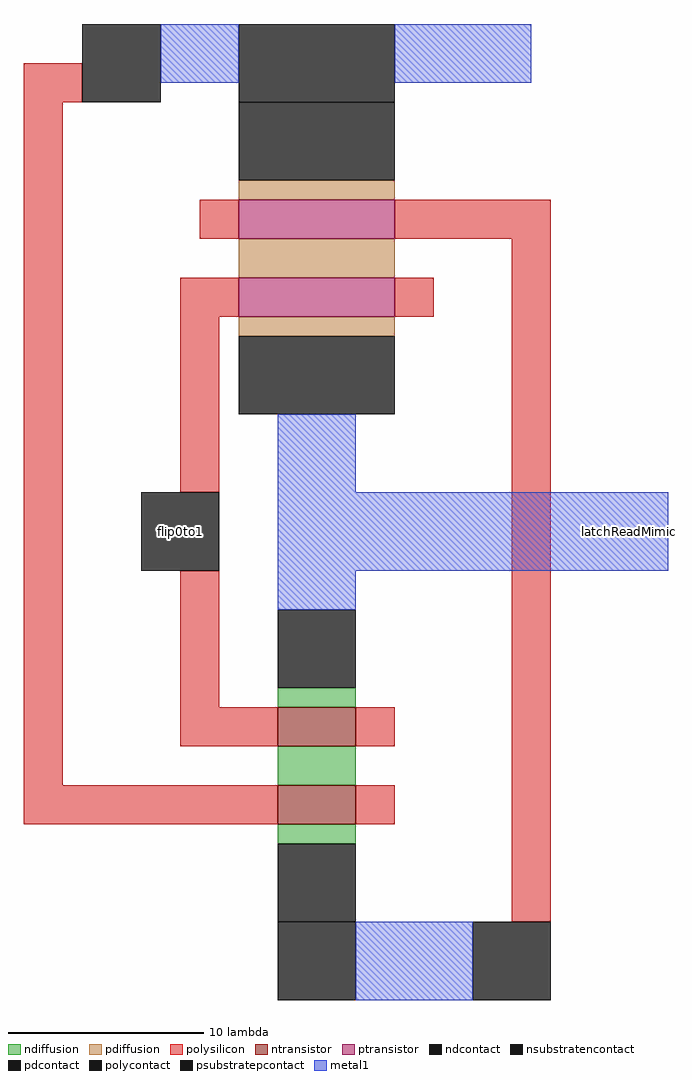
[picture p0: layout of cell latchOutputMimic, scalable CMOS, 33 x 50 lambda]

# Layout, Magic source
magic
tech scmos
<< polysilicon >>
rect -16 15 -13 17
rect -16 -20 -14 15
rect -7 8 -5 10
rect 3 8 11 10
rect -8 4 -5 6
rect 3 4 5 6
rect -8 -5 -6 4
rect -8 -16 -6 -9
rect -8 -18 -3 -16
rect 1 -18 3 -16
rect -16 -22 -3 -20
rect 1 -22 3 -20
rect 9 -27 11 8
<< ndiffusion >>
rect -3 -16 1 -15
rect -3 -20 1 -18
rect -3 -23 1 -22
<< pdiffusion >>
rect -5 10 3 11
rect -5 6 3 8
rect -5 3 3 4
<< metal1 >>
rect -9 16 -5 19
rect 3 16 10 19
rect -3 -5 1 -1
rect -3 -9 17 -5
rect -3 -11 1 -9
rect 1 -31 7 -27
<< ntransistor >>
rect -3 -18 1 -16
rect -3 -22 1 -20
<< ptransistor >>
rect -5 8 3 10
rect -5 4 3 6
<< polycontact >>
rect -13 15 -9 19
rect -10 -9 -6 -5
rect 7 -31 11 -27
<< ndcontact >>
rect -3 -15 1 -11
rect -3 -27 1 -23
<< pdcontact >>
rect -5 11 3 15
rect -5 -1 3 3
<< psubstratepcontact >>
rect -3 -31 1 -27
<< nsubstratencontact >>
rect -5 15 3 19
<< labels >>
rlabel polycontact -8 -7 -8 -7 1 flip0to1
rlabel metal1 15 -7 15 -7 7 latchReadMimic
<< end >>
